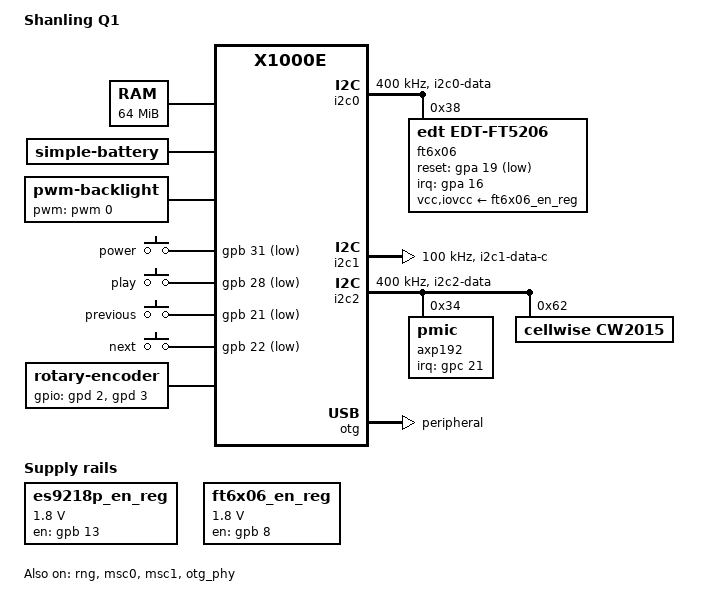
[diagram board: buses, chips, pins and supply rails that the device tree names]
// SPDX-License-Identifier: GPL-2.0
/dts-v1/;

#include "x1000.dtsi"
#include <dt-bindings/gpio/gpio.h>
#include <dt-bindings/input/input.h>
#include <dt-bindings/clock/ingenic,sysost.h>
#include <dt-bindings/interrupt-controller/irq.h>

/ {
	compatible = "shanling,q1", "ingenic,x1000e";
	model = "Shanling Q1";

	memory {
		device_type = "memory";
		reg = <0x0 0x4000000>;
	};

	es9218p_xi_clk: clock-es9218p-xi {
		compatible = "fixed-clock";
		#clock-cells = <0>;
		clock-frequency = <38400000>;
	};

	es9218p_en_reg: regulator-es9218p-en {
		compatible = "regulator-fixed";

		regulator-name = "es9218p_en_reg";
		/* dummy voltages */
		regulator-min-microvolt = <1800000>;
		regulator-max-microvolt = <1800000>;

		gpio = <&gpb 13 GPIO_ACTIVE_HIGH>;
		enable-active-high;
	};

	ft6x06_en_reg: regulator-ft6x06-en {
		compatible = "regulator-fixed";

		regulator-name = "ft6x06_en_reg";
		/* dummy voltages */
		regulator-min-microvolt = <1800000>;
		regulator-max-microvolt = <1800000>;

		gpio = <&gpb 8 GPIO_ACTIVE_HIGH>;
		enable-active-high;
	};

	battery: battery {
		compatible = "simple-battery";

		device-chemistry = "lithium-ion";
		charge-full-design-microamp-hours = <1100000>;

		voltage-min-design-microvolt = <3300000>;
		voltage-max-design-microvolt = <4200000>;
		over-voltage-threshold-microvolt = <4400000>;

		constant-charge-current-max-microamp = <630000>;
		constant-charge-voltage-max-microvolt = <4200000>;
	};

	backlight {
		compatible = "pwm-backlight";
		pwms = <&pwm 0 10000 0>;

		pinctrl-names = "default";
		pinctrl-0 = <&pins_pwm0>;
	};

	gpio-keys {
		compatible = "gpio-keys";

		button-0 {
			label = "power";
			linux,code = <KEY_POWER>;
			gpios = <&gpb 31 GPIO_ACTIVE_LOW>;
		};

		button-1 {
			label = "play";
			linux,code = <KEY_PLAY>;
			gpios = <&gpb 28 GPIO_ACTIVE_LOW>;
		};

		button-2 {
			label = "previous";
			linux,code = <KEY_PREVIOUS>;
			gpios = <&gpb 21 GPIO_ACTIVE_LOW>;
		};

		button-3 {
			label = "next";
			linux,code = <KEY_NEXT>;
			gpios = <&gpb 22 GPIO_ACTIVE_LOW>;
		};
	};

	rotary-encoder {
		compatible = "rotary-encoder";
		gpios = <&gpd 2 GPIO_ACTIVE_HIGH>,
			<&gpd 3 GPIO_ACTIVE_HIGH>;
		linux,axis = <REL_WHEEL>;
		rotary-encoder,relative-axis;
	};
};

&exclk {
	clock-frequency = <24000000>;
};

&cgu {
	/*
	 * Use the 32.768 kHz oscillator as the parent of the RTC for a higher
	 * precision. Use EXCLK as the parent of the I2S system clock just so
	 * it has a well defined parent.
	 */
	assigned-clocks = <&cgu X1000_CLK_RTC>,
			  <&cgu X1000_CLK_I2S>;
	assigned-clock-parents = <&cgu X1000_CLK_RTCLK>,
				 <&cgu X1000_CLK_EXCLK>;
};

&ost {
	/* 1500 kHz for the system timer and clocksource */
	assigned-clocks = <&ost OST_CLK_PERCPU_TIMER>,
			  <&ost OST_CLK_GLOBAL_TIMER>;
	assigned-clock-rates = <1500000>,
			       <1500000>;
};

&tcu {
	/*
	 * Set channel mask to allow PWM0 to be used.
	 */
	ingenic,pwm-channels-mask = <0x01>;

	/*
	 * Use PCLK as the parent for the PWM backlight timer to
	 * maximize the number of brightness steps.
	 *
	 * Also have to set timer2 to avoid a driver probe error
	 * Set WDT since it seems needed
	 * Set timer1 just in case it is getting used but idk
	 * TODO recheck this stuff
	 */
	assigned-clocks = <&tcu TCU_CLK_TIMER0>,
			  <&tcu TCU_CLK_TIMER1>,
			  <&tcu TCU_CLK_TIMER2>,
			  <&tcu TCU_CLK_WDT>;
	assigned-clock-parents = <&cgu X1000_CLK_PCLK>,
				 <&cgu X1000_CLK_PCLK>,
				 <&cgu X1000_CLK_PCLK>,
				 <&cgu X1000_CLK_RTCLK>;
	assigned-clock-rates = <0>,
			       <1500000>,
			       <1500000>,
			       <24000000>;
};

&rtc {
	ingenic,rtc-valid-value = <0x52544356>;
};

&rng {
	status = "okay";
};

&i2c0 {
	status = "okay";

	clock-frequency = <400000>;

	pinctrl-names = "default";
	pinctrl-0 = <&pins_i2c0>;

	ft6x06: touchscreen@38 {
		/* Max 5 touchpoints reported */
		compatible = "edt,edt-ft5206";
		reg = <0x38>;

		interrupt-parent = <&gpa>;
		interrupts = <16 IRQ_TYPE_EDGE_FALLING>;

		reset-gpios = <&gpa 19 GPIO_ACTIVE_LOW>;

		vcc-supply = <&ft6x06_en_reg>;
		iovcc-supply = <&ft6x06_en_reg>;

		touchscreen-size-x = <360>;
		touchscreen-size-y = <400>;
	};
};

&i2c1 {
	status = "okay";

	clock-frequency = <100000>;

	pinctrl-names = "default";
	pinctrl-0 = <&pins_i2c1>;
};

&i2c2 {
	status = "okay";

	clock-frequency = <400000>;

	pinctrl-names = "default";
	pinctrl-0 = <&pins_i2c2>;

	axp192: pmic@34 {
		reg = <0x34>;

		interrupt-parent = <&gpc>;
		interrupts = <21 IRQ_TYPE_LEVEL_LOW>;

		pinctrl-names = "default";
		pinctrl-0 = <&pins_axp192>;
	};

	cw2015: fuel-gauge@62 {
		compatible = "cellwise,cw2015";
		reg = <0x62>;

		monitored-battery = <&battery>;
		power-supplies = <&usb_power_supply>;

		cellwise,monitor-interval-ms = <500>;
		cellwise,battery-profile = /bits/ 8 <
			0x15 0x7E 0x61 0x59 0x57 0x55 0x56 0x4C
			0x4E 0x4D 0x50 0x4C 0x45 0x3A 0x2D 0x27
			0x22 0x1E 0x19 0x1E 0x2A 0x3C 0x48 0x45
			0x1D 0x94 0x08 0xF6 0x15 0x29 0x48 0x51
			0x5D 0x60 0x63 0x66 0x45 0x1D 0x83 0x38
			0x09 0x43 0x16 0x42 0x76 0x98 0xA5 0x1B
			0x41 0x76 0x99 0xBF 0x80 0xC0 0xEF 0xCB
			0x2F 0x00 0x64 0xA5 0xB5 0x0E 0x30 0x29
		>;
	};
};

&msc0 {
	status = "okay";

	bus-width = <4>;
	max-frequency = <50000000>;

	pinctrl-names = "default";
	pinctrl-0 = <&pins_msc0>;

	cd-gpios = <&gpb 9 GPIO_ACTIVE_LOW>;
};

&msc1 {
	status = "okay";

	bus-width = <4>;
	max-frequency = <50000000>;
	non-removable;

	pinctrl-names = "default";
	pinctrl-0 = <&pins_msc1>;
};

&otg {
	status = "okay";
	dr_mode = "peripheral";
};

&otg_phy {
	status = "okay";
};

&pinctrl {
	pins_axp192: axp192 {
		/* pullup required on interrupt line */
		pins = "PC21";
		bias-pull-up;
	};

	pins_i2c0: i2c0 {
		function = "i2c0";
		groups = "i2c0-data";
		bias-pull-up;
	};

	pins_i2c1: i2c1 {
		function = "i2c1";
		groups = "i2c1-data-c";
		bias-pull-up;
	};

	pins_i2c2: i2c2 {
		function = "i2c2";
		groups = "i2c2-data";
		bias-pull-up;
	};

	pins_msc0: msc0 {
		function = "mmc0";
		groups = "mmc0-1bit", "mmc0-4bit";
		bias-disable;
	};

	pins_msc1: msc1 {
		function = "mmc1";
		groups = "mmc1-1bit", "mmc1-4bit";
		bias-disable;
	};

	pins_pwm0: pwm0 {
		function = "pwm0";
		groups = "pwm0";
	};
};

#include <arm/axp192.dtsi>

&battery_power_supply {
	monitored-battery = <&battery>;
};

/*
 * For now, turn on all regulators.
 */

&reg_dcdc1 {
	regulator-always-on;
};

&reg_dcdc2 {
	regulator-always-on;
};

&reg_dcdc3 {
	regulator-always-on;
};

&reg_ldo2 {
	regulator-always-on;
};

&reg_ldo3 {
	regulator-always-on;
};
